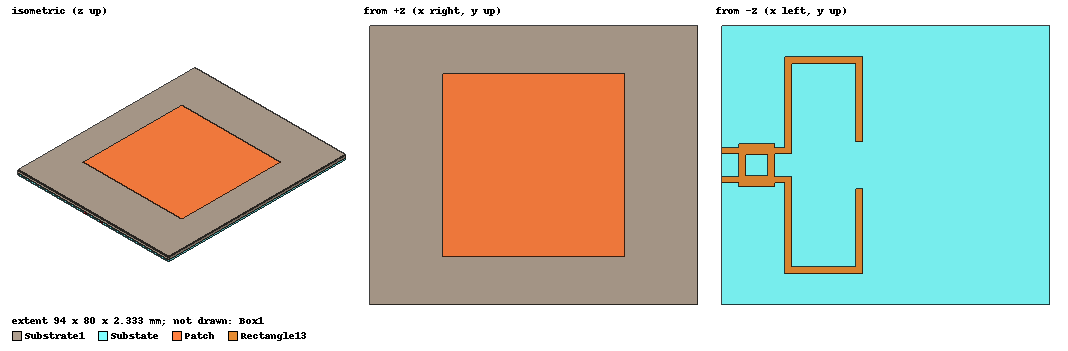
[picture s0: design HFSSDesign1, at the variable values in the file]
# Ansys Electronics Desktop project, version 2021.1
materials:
  vacuum: permittivity=1
  Rogers RO4003 (tm): permittivity=3.55 dielectric_loss_tangent=0.0027
  Taconic TLY (tm): permittivity=2.2 dielectric_loss_tangent=0.0009
  air: permittivity=1.0006 permeability=1.0000004
  copper: permeability=0.999991 conductivity=58000000

design HFSSDesign1 (HFSS, DrivenModal, model units mm)
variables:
  h = 1.52mm
  s = 2.8mm
  wp = 52.31mm
  l = 9.5mm
  fy = fx
  h1 = 0.8128mm
  fx = 7.5mm
  a = 26.3mm
  b = 6.145mm
  l3 = 32.35mm
  l6 = 6.5mm
  l5 = 5.8mm
  k2 = 37mm
  w35 = 3.2mm
  ws = 1.88mm
  Hs = 1.52mm
  Wx = 94mm
  Wy = 80mm
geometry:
  Patch = rectangle(corner=(-wp/2, -wp/2, h), x_size=wp, y_size=wp)
  Substate [Rogers RO4003 (tm)] = box(corner=(-Wx/2, -Wy/2, 0), size=(Wx, Wy, -h1))
  Cylinder1 [copper] = cylinder(axis=Z, base_centre=(fx, fy, h), radius=0.3mm, height=-(h+h1))
  Cylinder1_7 = Cylinder1.copy()
  Cylinder1_8 = Cylinder1.copy()
  Cylinder6 [copper] = cylinder(axis=Z, base_centre=(fx, -fy, h), radius=0.3mm, height=-(h+h1))
  Cylinder6_3 = Cylinder6.copy()
  Cylinder6_4 = Cylinder6.copy()
  Substate.subtract(Cylinder1_8, Cylinder6_4)
  Rectangle13 = rectangle(corner=((-l5/2)-w35, (-l6/2)-ws, -h1), x_size=l5+w35*2, y_size=l6+2*ws)
  Rectangle28 = rectangle(corner=((-l5/2), (-l6/2), -h1), x_size=l5, y_size=l6)
  Rectangle13.subtract(Rectangle28)
  Rectangle15 = rectangle(corner=((l6/2), -10mm, -h1), x_size=ws, y_size=b)
  Rectangle14 = rectangle(corner=((-l6/2), -10mm, -h1), x_size=-ws, y_size=b)
  Rectangle16 = rectangle(corner=((-l6/2), 10mm, -h1), x_size=-ws, y_size=-b)
  Rectangle17 = rectangle(corner=((l6/2), 10mm, -h1), x_size=ws, y_size=-b)
  Rectangle13.unite(Rectangle15, Rectangle14, Rectangle16, Rectangle17)
  Rectangle13.rotate(axis=Z, angle=90deg)
  Rectangle13.move(k2, 0mm, 0mm)
  Rectangle18 = rectangle(corner=(-10mm+ws, -l6/2-ws, -h1), x_size=-ws, y_size=-l3+l6)
  Rectangle19 = rectangle(corner=(-10mm+ws, l6/2+ws, -h1), x_size=-ws, y_size=l3-l6)
  Rectangle20 = rectangle(corner=(l3-l6/2+ws, 10mm, -h1), x_size=-ws, y_size=27.9mm-fx)
  Rectangle20.rotate(axis=Z, angle=90deg)
  Rectangle21 = rectangle(corner=(l6/2-l3, 10mm, -h1), x_size=-ws, y_size=27.9mm-fx)
  Rectangle21.rotate(axis=Z, angle=90deg)
  Rectangle31 = rectangle(corner=(-10mm+ws-(27.9mm-fx), -fx+0.7mm, -h1), x_size=-ws, y_size=-a+fx+(-l6/2)-ws)
  Rectangle32 = rectangle(corner=(-10mm+ws-(27.9mm-fx), fx-0.7mm, -h1), x_size=-ws, y_size=a-fx-(-l6/2)+ws)
  Rectangle18.unite(Rectangle19, Rectangle20, Rectangle21, Rectangle31, Rectangle32)
  Rectangle18.move(k2, 0mm, 0mm)
  Rectangle13.unite(Rectangle18)
  Rectangle29 = rectangle(corner=(l6/2, -10mm, 0mm), z_size=-h1, x_size=1.88mm)
  Rectangle29.rotate(axis=Z, angle=90deg)
  Rectangle29.move(k2, 0mm, 0mm)
  Rectangle30 = rectangle(corner=(-l6/2+-1.88mm, -10mm, 0mm), z_size=-h1, x_size=1.88mm)
  Rectangle30.rotate(axis=Z, angle=90deg)
  Rectangle30.move(k2, 0mm, 0mm)
  Ground_3 = rectangle(corner=(-Wx/2, -Wy/2, 0), x_size=Wx, y_size=Wy)
  Cylinder2 = cylinder(axis=Z, base_centre=(fx, fy, Hs), radius=0.5mm, height=-(Hs+h1))
  Ground_3.subtract(Cylinder2)
  Cylinder13 = cylinder(axis=Z, base_centre=(fx, -fy, Hs), radius=0.5mm, height=-(Hs+h1))
  Ground_3.subtract(Cylinder13)
  Substrate1 [Taconic TLY (tm)] = box(corner=(-Wx/2, -Wy/2, 0), size=(Wx, Wy, h))
  Substrate1.subtract(Cylinder1_7, Cylinder6_3)
  Box1 [air] = box(corner=(-80mm, -80mm, -50mm), size=(160mm, 160mm, 100mm))
  Box1.rotate(axis=Z, angle=90deg)
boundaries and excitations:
  FiniteCond1: Finite Conductivity Objects=[Ground_3, Patch, Rectangle13] Conductivity=58000000 Permeability=1 IsInternal
  Rad1: Radiation Objects=Box1
  3: Lumped Port Objects=Rectangle29 Modes{Mode1{IntLine{middle of Rectangle29.edge(2 of 4) -> middle of Rectangle29.edge(4 of 4)} CharImp=Zpi RenormImp=50ohm}} Impedance=50ohm
  4: Lumped Port Objects=Rectangle30 Modes{Mode1{IntLine{middle of Rectangle30.edge(2 of 4) -> middle of Rectangle30.edge(4 of 4)} CharImp=Zpi RenormImp=50ohm}} Impedance=50ohm
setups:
  Setup1: HfssDriven Frequency=5.5GHz MaxDeltaS=0.02 MaximumPasses=10 MinimumPasses=1 MinimumConvergedPasses=1 PercentRefinement=30 BasisOrder=1 PortAccuracy=2
    sweep Sweep: 5.1GHz to 6.1GHz step 0.01GHz; Type=Discrete SaveFields
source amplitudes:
  3:1: 1W 0deg
  4:1: 0W 0deg
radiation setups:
  Infinite Sphere1: Infinite Sphere Theta=-180deg..180deg step 2deg Phi=-180deg..180deg step 2deg
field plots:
  Vector_Jsurf1: Jsurf over Patch.face on Setup1 : Sweep at Freq=5.6GHz Phase=135deg
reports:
  S Parameter Plot 2: dB(S(4,3)), dB(S(4,4)) vs Freq on Setup1 : Sweep
  Gain Plot 1: dB(GainTotal) vs Freq on Setup1 : Sweep, Infinite Sphere1 [Phi=0deg Theta=0deg]
  Axial Ratio Plot 1: dB(AxialRatioValue) vs Freq on Setup1 : Sweep, Infinite Sphere1 [Phi=0deg Theta=0deg]
  Gain Plot 2: dB(GainLHCP), dB(GainRHCP) vs Theta on Setup1 : Sweep, Infinite Sphere1 [Phi=0deg,90deg Freq=5.6GHz]
